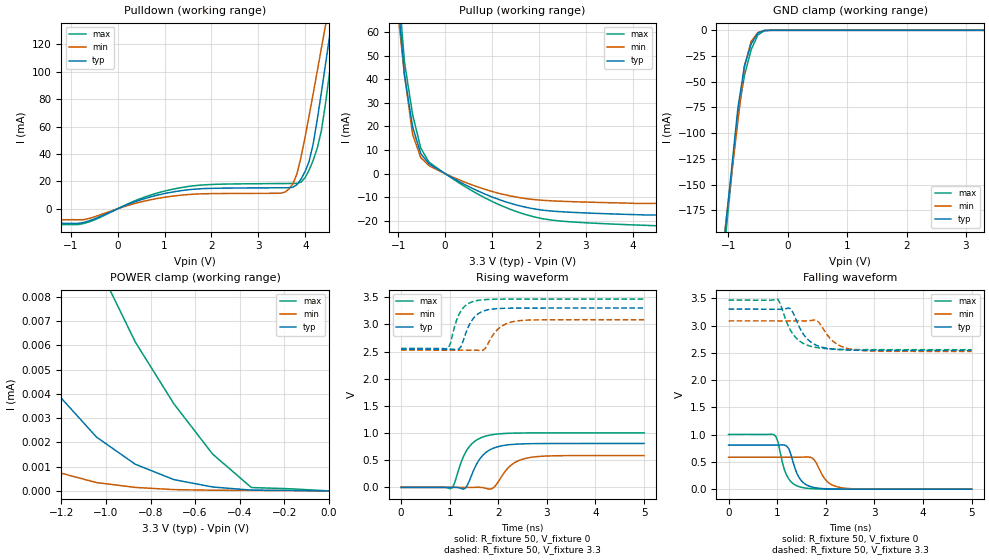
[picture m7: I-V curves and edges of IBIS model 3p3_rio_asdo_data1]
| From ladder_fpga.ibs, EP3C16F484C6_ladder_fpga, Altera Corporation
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[Model] 3p3_rio_asdo_data1
Model_type I/O
Polarity Non-Inverting
Enable Active-Low
Vinl  = 0.8V
Vinh  = 1.7V
Vmeas = 1.5425V
Rref  = 10M
Cref  = 0pF
Vref  = 0V
C_comp  4.4pF   4.4pF   4.4pF
[Temperature Range] 25   85   0
[Voltage Range]   3.3   3.085   3.465
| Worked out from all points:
|   slope of the pulldown table from 0 to 0.495 V, typ, clamps not added: 75.5 ohm
|   slope of the pullup table from 0 to 0.495 V, typ, clamps not added: 91.6 ohm
|   GND clamp passes 1 mA (typ) near -0.43 V on its own axis
|   rising waveform, R_fixture 50, V_fixture 0: 20-80 % time 329ps typ, 355ps min, 314ps max; typ from 0 V to 0.808 V
|   falling waveform, R_fixture 50, V_fixture 0: 20-80 % time 214ps typ, 249ps min, 198ps max; typ from 0.808 V to 0 V
|   rising waveform, R_fixture 50, V_fixture 3.3: 20-80 % time 249ps typ, 299ps min, 222ps max; typ from 2.54 V to 3.3 V
|   falling waveform, R_fixture 50, V_fixture 3.3: 20-80 % time 330ps typ, 349ps min, 322ps max; typ from 3.3 V to 2.54 V
[GND Clamp]
| voltage   I (typ)   I (min)   I (max)
-3.3V     -1.449A    -1.286A    -1.533A
-1.063V   -200.8mA   -197.7mA   -211mA
-950.8mV  -138.4mA   -143.3mA   -144.9mA
-839mV    -75.96mA   -88.9mA    -82.12mA
-727.1mV  -34.33mA   -34.92mA   -43.75mA
-615.2mV  -13.39mA   -10.72mA   -18.82mA
-503.4mV  -2.65mA    -2.136mA   -4.609mA
-391.5mV  -131.9uA   -144.2uA   -303.1uA
-279.7mV  -2.477uA   -5.258uA   -4.774uA
3.3V      0A         0A         0A
[Pulldown]
| voltage   I (typ)   I (min)   I (max)
-3.3V     -10.64mA   -7.995mA   -11.53mA
-839mV    -10.64mA   -7.995mA   -11.53mA
1.286V    12.88mA    9.688mA    15.04mA
3.561V    15.34mA    12.1mA     18.44mA
3.821V    17.58mA    25.46mA    18.57mA
4.082V    34.68mA    68.03mA    28.23mA
4.255V    65.16mA    100.6mA    44.3mA
4.429V    105.1mA    133.6mA    76.39mA
4.516V    125.6mA    150.1mA    98.96mA
4.603V    146.1mA    166.5mA    122.4mA
4.689V    166.4mA    182.9mA    146.1mA
6.6V      560.7mA    524.2mA    590.9mA
[POWER Clamp]
| voltage   I (typ)   I (min)   I (max)
-3.3V     255.8uA    174.6uA    337.7uA
-1.911V   28.08uA    11.14uA    68.9uA
-1.737V   17.97uA    6.876uA    39.23uA
-1.563V   11.64uA    3.732uA    28uA
-1.389V   6.958uA    1.745uA    19.82uA
-1.216V   3.98uA     766.9nA    13.7uA
-1.042V   2.218uA    344.4nA    9.42uA
-868.4mV  1.101uA    143.7nA    6.142uA
-694.7mV  465.5nA    54.34nA    3.587uA
-521.1mV  162.3nA    28.75nA    1.518uA
-347.4mV  32.72nA    21.8nA     140nA
0V        0A         0A         0A
[Pullup]
| voltage   I (typ)   I (min)   I (max)
-3.3V     633.3mA    523.5mA    726mA
-1.042V   80.74mA    74.88mA    90.32mA
-868.4mV  41.74mA    41.99mA    47.34mA
-694.7mV  19.82mA    16.66mA    25.04mA
-521.1mV  8.474mA    6.788mA    10.81mA
-347.4mV  4.224mA    3.402mA    4.873mA
521.1mV   -5.67mA    -4.395mA   -6.672mA
1.389V    -12.56mA   -9.442mA   -15.13mA
1.911V    -14.98mA   -11.02mA   -18.38mA
2.258V    -15.83mA   -11.51mA   -19.64mA
4.53V     -17.51mA   -12.6mA    -22.1mA
6.6V      -17.51mA   -12.6mA    -22.13mA
[Ramp]
dV/dt_r   4.847e-001/3.288e-010  3.516e-001/3.545e-010  6.018e-001/3.143e-010
dV/dt_f   4.548e-001/3.298e-010  3.360e-001/3.494e-010  5.454e-001/3.220e-010
R_load = 50ohms
[Rising Waveform]
R_fixture   = 50
V_fixture   = 0
V_fixture_min = 0
V_fixture_max = 0
| time   V (typ)   V (min)   V (max)
0s        0V         511nV      0V
1.016ns   -221.6uV   -213.9uV   -25.66mV
1.104ns   1.757mV    -188.5uV   89.69mV
1.282ns   -32.94mV   -264.4uV   564.6mV
1.37ns    50.81mV    -319.6uV   709.1mV
1.592ns   486.3mV    1.628mV    890.8mV
1.813ns   683.3mV    -31.6mV    959.2mV
2.256ns   787.8mV    403.5mV    996.7mV
2.567ns   802.1mV    534.6mV    1.001V
5ns       807.8mV    586mV      1.003V
[Falling Waveform]
R_fixture   = 50
V_fixture   = 0
V_fixture_min = 0
V_fixture_max = 0
| time   V (typ)   V (min)   V (max)
0s        807.8mV    586.1mV    1.003V
927.2ps   807.6mV    586.1mV    1.001V
1.016ns   808.2mV    586mV      867.6mV
1.104ns   811.4mV    586mV      501.1mV
1.193ns   792.5mV    585.9mV    258mV
1.503ns   149.2mV    586.8mV    33.37mV
1.725ns   37.26mV    568.3mV    8.664mV
1.991ns   7.72mV     177.2mV    1.756mV
2.301ns   1.243mV    29.85mV    276uV
5ns       4.262uV    2.599uV    5.299uV
[Rising Waveform]
R_fixture   = 50
V_fixture   = 3.3
V_fixture_min = 3.085
V_fixture_max = 3.465
| time   V (typ)   V (min)   V (max)
0s        2.542V     2.525V     2.556V
971.5ps   2.541V     2.525V     2.566V
1.149ns   2.534V     2.525V     3.093V
1.237ns   2.597V     2.525V     3.255V
1.415ns   3.01V      2.524V     3.397V
1.548ns   3.168V     2.524V     3.434V
1.725ns   3.254V     2.55V      3.454V
2.035ns   3.292V     2.942V     3.463V
2.345ns   3.298V     3.057V     3.464V
5ns       3.3V       3.085V     3.465V
[Falling Waveform]
R_fixture   = 50
V_fixture   = 3.3
V_fixture_min = 3.085
V_fixture_max = 3.465
| time   V (typ)   V (min)   V (max)
0s        3.3V       3.085V     3.465V
1.016ns   3.299V     3.084V     3.479V
1.237ns   3.322V     3.084V     2.976V
1.326ns   3.237V     3.084V     2.84V
1.548ns   2.831V     3.084V     2.667V
1.769ns   2.655V     3.102V     2.603V
1.858ns   2.62V      3.059V     2.59V
2.168ns   2.565V     2.697V     2.567V
2.478ns   2.55V      2.572V     2.56V
5ns       2.542V     2.525V     2.556V
